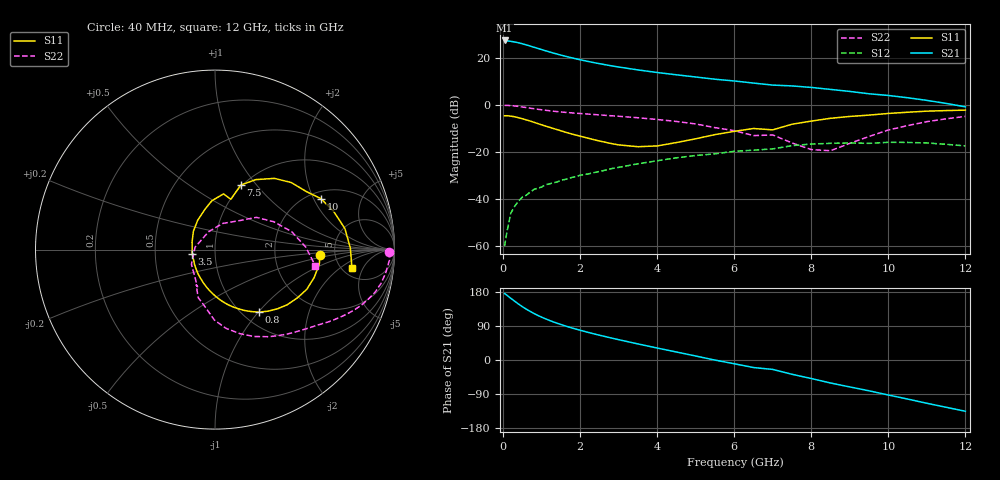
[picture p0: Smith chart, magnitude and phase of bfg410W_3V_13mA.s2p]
! Filename: 313bfg410.001
! BFG410W Field B1
! V1=8.741E-001V,V2=3.000E+000V, I1=1.977E-004A, I2=1.302E-002A
# GHz  S  MA  R 50
!  S11  S21  S12  S22
!Freq(GHz)  Mag  Ang  Mag  Ang  Mag  Ang  Mag  Ang
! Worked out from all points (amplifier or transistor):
!   44 points, 40 MHz to 12 GHz, reference 50 ohm
!   highest |S21| = 27.3 dB at 40 MHz (marker M1)
!   |S21| within 3 dB of that: start of sweep to 827.6 MHz
!   unconditionally stable (mu >= 1): 1.66 GHz to end of sweep
!   at 700 MHz: K = 0.58, MSG = 31.0 dB, |S12| = -37.1 dB
!   at 2.4 GHz: K = 1.15, MAG = 20.9 dB, |S12| = -28.6 dB
!   at 12 GHz: K = 1.50, MAG = 4.1 dB, |S12| = -17.5 dB
!   S11 on the Smith chart (normalised r, x): 40 MHz: 3.79, -0.33; 800 MHz: 1.19, -1.01; 3.5 GHz: 0.77, -0.03; 7.5 GHz: 0.99, +0.83; 10 GHz: 2.30, +2.29; 12 GHz: 6.10, -3.09
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0.04  0.585 -2.8  23.19 175.4  0.001 80.6  0.971 -0.7
0.2  0.574 -15.7  22.21 162.8  0.005 81.1  0.96 -7.7
0.3  0.557 -23.4  21.54 155.3  0.007 78.3  0.945 -11.4
0.4  0.532 -30.4  20.69 147.8  0.009 75.3  0.923 -14.9
0.5  0.506 -37.5  19.73 140.7  0.011 71.9  0.898 -17.9
0.6  0.479 -43.6  18.7 134.3  0.012 69.8  0.874 -20.6
0.8  0.426 -54.8  16.68 122.9  0.016 66.4  0.826 -25.3
1  0.376 -64.3  14.85 113.1  0.018 63.8  0.784 -29.2
1.1  0.354 -68.6  14.03 108.8  0.02 62.9  0.766 -30.9
1.4  0.298 -80.5  11.94 97.2  0.023 60.9  0.718 -35.5
1.8  0.238 -95.2  9.847 84.2  0.029 58.8  0.672 -41.1
2.2  0.196 -109.5  8.34 73.1  0.034 56.6  0.635 -46.7
2.8  0.151 -134.3  6.747 58.3  0.044 52.3  0.586 -55.2
3.5  0.129 -170.3  5.499 42.4  0.056 45.8  0.531 -65.8
4.5  0.158 139.7  4.33 21.1  0.075 33.6  0.443 -82.1
5.5  0.233 103.5  3.489 -0.2  0.091 18.4  0.328 -99.0
6.5  0.314 81.4  2.89 -19.9  0.109 4.3  0.222 -118.2
7.5  0.387 68.3  2.515 -37.7  0.136 -6.8  0.155 -147.8
8.5  0.517 50.1  2.12 -60.7  0.152 -29.8  0.106 109.6
10  0.655 25.7  1.577 -92.4  0.16 -59.8  0.292 38.0
10.5  0.695 17.7  1.411 -103.0  0.159 -70.3  0.362 25.4
12  0.77 -7.7  0.906 -135.3  0.134 -108.3  0.567 -9.2
